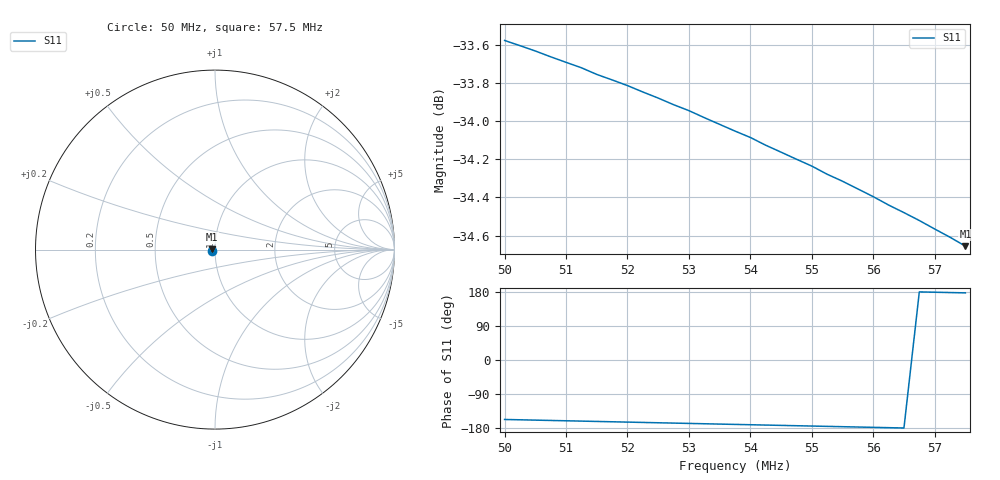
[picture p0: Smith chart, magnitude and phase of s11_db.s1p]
!Agilent Technologies,E5072A,MY51200456,A.01.06
!Date: Wed Sep 02 20:44:33 2015
!Data & Calibration Information:
!Freq	S11:SOLT1(ON)
!PortZ  Port1:50+j0
!Above PortZ is port z conversion or system Z0 setting when saving the data.
!When reading, reference impedance value at option line is always used.
# Hz S dB R 50
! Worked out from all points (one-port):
!   31 points, 50 MHz to 57.5 MHz, reference 50 ohm
!   lowest |S11| = -34.7 dB at 57.5 MHz (marker M1), VSWR 1.04, Z = 48.2 + j0.0886 ohm
!   |S11| at or under -10 dB: start of sweep to end of sweep
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5e7  -33.58 -156.9
5.05e7  -33.63 -158.7
5.075e7  -33.66 -159.5
5.1e7  -33.69 -160.4
5.125e7  -33.72 -161.3
5.15e7  -33.76 -162.1
5.175e7  -33.79 -163.0
5.2e7  -33.81 -163.9
5.225e7  -33.85 -164.8
5.25e7  -33.88 -165.6
5.275e7  -33.91 -166.5
5.3e7  -33.95 -167.4
5.325e7  -33.98 -168.2
5.375e7  -34.05 -170.0
5.4e7  -34.09 -170.8
5.425e7  -34.13 -171.7
5.475e7  -34.20 -173.4
5.5e7  -34.24 -174.3
5.525e7  -34.28 -175.1
5.55e7  -34.32 -176.0
5.575e7  -34.36 -176.9
5.6e7  -34.40 -177.7
5.625e7  -34.44 -178.6
5.65e7  -34.48 -179.4
5.675e7  -34.52 179.7
5.7e7  -34.57 178.9
5.725e7  -34.61 178.0
5.75e7  -34.66 177.2
